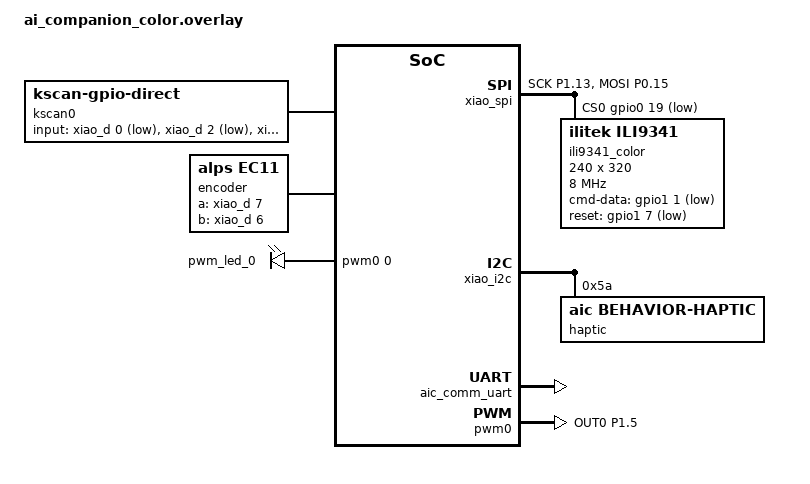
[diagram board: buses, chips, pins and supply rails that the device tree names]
/*
 * Copyright (c) 2026 The AI Companion Contributors
 * SPDX-License-Identifier: MIT
 *
 * ai_companion_color shield — the COLOUR build of the AI Companion device.
 *
 * Same firmware LOGIC as the mono `ai_companion` shield (4 buttons + EC11
 * encoder + DRV2605L haptic + USB CDC-ACM data channel + the custom 12-screen
 * status UI), but:
 *   1) the display is a Waveshare 2.4" ILI9341 IPS panel (240x320, 4-wire SPI)
 *      instead of the 128x64 I2C SSD1306, and
 *   2) the rotary encoder's push switch (SW) is now wired as a 5th button.
 *
 * BOARD: still `seeeduino_xiao_ble` — but the physical board is the XIAO
 * nRF52840 *Plus* (20 pins, D0-D19). The SoC is identical, so no new board
 * definition is needed; the extra pins (D11+) are reached with raw &gpio0 /
 * &gpio1 references plus a pinctrl override on the SPI bus. The regular XIAO's
 * 11-pin header (D0-D10) does NOT expose enough pins for panel + 5 buttons +
 * encoder + haptic, so this shield REQUIRES the Plus.
 *
 * VERIFICATION LEVEL: NOT YET HW-VERIFIED on this panel (bring-up pending — the
 * 1.9" ST7789 build was verified; this is the 2.4" ILI9341 swap). The ILI9341
 * driver supplies its own register defaults; the only panel-specific choices
 * here are 8 MHz SPI (dupont jumpers ring higher -> fuzzy text) and the LANDSCAPE
 * orientation (rotation = 270). The exact rotation direction is confirmed at
 * bring-up (see the node below).
 *
 * ---- Pin map (XIAO Plus digital pin -> nRF GPIO; source = Seeed variant.cpp) ----
 *   Existing 8 signals — UNCHANGED from the mono shield:
 *     D0  Voice button       (P0.02)   direct GPIO, active-low, pull-up
 *     D2  Yes   button       (P0.28)   direct GPIO, active-low, pull-up
 *     D9  No    button       (P1.14)   direct GPIO, active-low, pull-up
 *     D10 Open  button       (P1.15)   direct GPIO, active-low, pull-up
 *     D7  Encoder A          (P1.12)   EC11
 *     D6  Encoder B          (P1.11)   EC11
 *     D4  I2C SDA            (P0.04)   DRV2605L haptic
 *     D5  I2C SCL            (P0.05)   DRV2605L haptic
 *   New signals — only on pins the mono build left free:
 *     D8  Screen CLK (SCK)   (P1.13)   SPI2 — native SCK pin, no override needed
 *     D11 Screen DIN (MOSI)  (P0.15)   SPI2 — MOSI moved here (native P1.15 = D10 = Open)
 *     D12 Screen CS          (P0.19)   SPI2 chip-select GPIO
 *     D13 Screen DC          (P1.01)   command/data select GPIO
 *     D17 Screen RST         (P1.07)   reset GPIO
 *   Encoder push switch — moved off the hard-to-reach Plus back-pad D19 (P1.03)
 *   onto a free top-header pin (2026-09-30 bring-up: D19 back-pad would not
 *   register even shorted straight to GND, while D0 fired instantly):
 *     D1  Encoder SW (push)  (P0.03)   direct GPIO, active-low, pull-up (5th button)
 *   Screen BL -> 3V3 (always on); VCC -> 3V3; GND -> GND; MISO not connected.
 *   AVOIDED: D14/D15 (P0.09/P0.10 = NFC pins), D16 (P0.31 = VBAT sense).
 */

#include <dt-bindings/zmk/matrix_transform.h>

/ {
    chosen {
        zmk,kscan = &kscan0;
        zmk,matrix-transform = &default_transform;
        zephyr,display = &ili9341_color;   // colour panel replaces the OLED
    };

    default_transform: keymap_transform_0 {
        compatible = "zmk,matrix-transform";
        columns = <5>;
        rows = <1>;
        //        Voice   Yes     No      Open    EncSW
        map = < RC(0,0) RC(0,1) RC(0,2) RC(0,3) RC(0,4) >;
    };

    kscan0: kscan_0 {
        compatible = "zmk,kscan-gpio-direct";
        wakeup-source;
        debounce-press-ms = <5>;
        debounce-release-ms = <5>;
        input-gpios
            = <&xiao_d 0  (GPIO_ACTIVE_LOW | GPIO_PULL_UP)>   // Voice
            , <&xiao_d 2  (GPIO_ACTIVE_LOW | GPIO_PULL_UP)>   // Yes
            , <&xiao_d 9  (GPIO_ACTIVE_LOW | GPIO_PULL_UP)>   // No
            , <&xiao_d 10 (GPIO_ACTIVE_LOW | GPIO_PULL_UP)>   // Open
            , <&xiao_d 1  (GPIO_ACTIVE_LOW | GPIO_PULL_UP)>   // Encoder SW = D1 (P0.03)
            ;
    };

    encoder: encoder {
        compatible = "alps,ec11";
        a-gpios = <&xiao_d 7 (GPIO_ACTIVE_HIGH | GPIO_PULL_UP)>;
        b-gpios = <&xiao_d 6 (GPIO_ACTIVE_HIGH | GPIO_PULL_UP)>;
        steps = <80>;
        status = "okay";
    };

    sensors: sensors {
        compatible = "zmk,keymap-sensors";
        sensors = <&encoder>;
        triggers-per-rotation = <20>;
    };

    /*
     * Soft-off wakeup sources. When &soft_off (bound to the Yes+Open combo in
     * the keymap) powers the chip into System OFF, ZMK keeps the devices listed
     * here alive so they can wake it again. kscan0 already carries
     * `wakeup-source;` and is a direct GPIO kscan, so listing it here is the ZMK
     * docs' simplest path: pressing ANY of the 5 keys (Voice/Yes/No/Open/EncSW)
     * wakes the device — no dedicated gpio-key / sideband node needed.
     */
    soft_off_wakers {
        compatible = "zmk,soft-off-wakeup-sources";
        wakeup-sources = <&kscan0>;
    };
};

/*
 * Colour panel — Waveshare 2.4" ILI9341 (240x320, 4-wire SPI), on the XIAO's
 * SPI2 (`xiao_spi`). SPI2's native pins are SCK=P1.13, MOSI=P1.15, MISO=P1.14.
 * We keep SCK on P1.13 (= D8, free) but MOVE MOSI off P1.15 — that pin is D10,
 * the Open button — onto P0.15 (= D11). MISO is dropped: the display is
 * write-only. This override is a per-shield pinctrl state so the board's stock
 * spi2_default is left intact for anything else.
 */
&pinctrl {
    spi2_default_color: spi2_default_color {
        group1 {
            psels = <NRF_PSEL(SPIM_SCK, 1, 13)>,
                    <NRF_PSEL(SPIM_MOSI, 0, 15)>;
        };
    };

    spi2_sleep_color: spi2_sleep_color {
        group1 {
            psels = <NRF_PSEL(SPIM_SCK, 1, 13)>,
                    <NRF_PSEL(SPIM_MOSI, 0, 15)>;
            low-power-enable;
        };
    };
};

&xiao_spi {
    status = "okay";
    pinctrl-0 = <&spi2_default_color>;
    pinctrl-1 = <&spi2_sleep_color>;
    pinctrl-names = "default", "sleep";
    cs-gpios = <&gpio0 19 GPIO_ACTIVE_LOW>;   // CS = D12 (P0.19)

    /*
     * ILI9341 node (Waveshare 2.4"). Unlike the old ST7789 node, the Zephyr
     * ILI9341 driver (shared drivers/display/display_ili9xxx.c) already carries
     * sensible defaults for EVERY power/gamma/VCOM/frame register in its binding
     * (dts/bindings/display/ilitek,ili9341.yaml), so none of those arrays need
     * to be restated here — this node is just bus + control pins + orientation.
     *
     * Resolution is FIXED inside the driver (ILI9341 = 240x320 portrait, from
     * its X_RES/Y_RES macros); width/height below are only there because the
     * binding marks them required (display-controller.yaml) — the driver ignores
     * them for resolution. `rotation = <270>` turns it to LANDSCAPE 320x240 for
     * the horizontal-bar enclosure and programs MADCTL for us — no manual mdac /
     * offset. pixel-format <0> = RGB565 (matches CONFIG_LV_COLOR_DEPTH_16).
     */
    ili9341_color: ili9341@0 {
        compatible = "ilitek,ili9341";
        reg = <0>;
        /*
         * 8 MHz. The panel is wired with dupont jumpers; faster rates on long
         * unshielded leads ring/couple and show up as fuzzy/ghosted pixels.
         * Raise once the panel is on a proper flex/PCB with short traces.
         */
        spi-max-frequency = <8000000>;
        cmd-data-gpios = <&gpio1 1 GPIO_ACTIVE_LOW>;   // DC  = D13 (P1.01)
        reset-gpios    = <&gpio1 7 GPIO_ACTIVE_LOW>;   // RST = D17 (P1.07)
        pixel-format = <0>;    // 0 = RGB565
        /*
         * width/height are REQUIRED by the binding (inherited from
         * display-controller.yaml) but the ili9xxx driver does NOT use them for
         * resolution — it takes that from its own ILI9341_X_RES/Y_RES macros
         * (240x320) and swaps per `rotation`. So these are the native-panel
         * values purely to satisfy the binding; the live resolution is driven by
         * rotation below (270 -> landscape 320x240).
         */
        width = <240>;
        height = <320>;
        /*
         * 270 = landscape 320x240. If the image comes up upside-down / mirrored
         * at bring-up, try 90 instead — both are landscape, 180 deg apart.
         */
        rotation = <270>;
    };
};

/*
 * Haptic + I2C — identical to the mono shield. The DRV2605L stays on the XIAO
 * I2C bus (D4=SDA / D5=SCL). No SSD1306 node here: the colour panel replaces it.
 */
&xiao_i2c {
    status = "okay";

    haptic: drv2605@5a {
        compatible = "aic,behavior-haptic";
        reg = <0x5a>;
        #binding-cells = <0>;
    };
};

/*
 * USB CDC-ACM data channel — identical to the mono shield (host <-> device
 * newline-delimited JSON over a virtual serial port alongside USB HID).
 */
&zephyr_udc0 {
    aic_comm_uart: aic_comm_uart {
        compatible = "zephyr,cdc-acm-uart";
    };
};

/ {
    chosen {
        aic,comm-uart = &aic_comm_uart;
    };
};

/*
 * ---- Backlight control (BL = D18 = P1.05) ----
 * The Waveshare 2.4" panel's BL pin is a LOGIC control input (BL -> R5 1K -> NPN
 * base, with R6 10K on the base, switching the LED current), NOT an LED-current
 * pin — so an nRF GPIO/PWM can drive it directly, no MOSFET. The BL net goes to
 * P1.05; driving it from PWM0 gives real control: high = lit, low = dark. ZMK
 * backlight defaults to on-at-boot at 100%. (Unlike the 1.9" panel there is no
 * TXS0108 pull-up forcing it on, so floating-pin behaviour differs — see the
 * soft-off HARDWARE NOTE in the .conf.)
 *
 * VERIFY: hold Voice + Open -> &bl BL_TOG (see keymap). The panel going DARK is
 * the proof firmware owns P1.05.
 */
#include <dt-bindings/pwm/pwm.h>

&pinctrl {
    pwm0_default: pwm0_default {
        group1 {
            psels = <NRF_PSEL(PWM_OUT0, 1, 5)>;   // BL = D18 (P1.05)
        };
    };

    pwm0_sleep: pwm0_sleep {
        group1 {
            psels = <NRF_PSEL(PWM_OUT0, 1, 5)>;
            low-power-enable;
        };
    };
};

&pwm0 {
    status = "okay";
    pinctrl-0 = <&pwm0_default>;
    pinctrl-1 = <&pwm0_sleep>;
    pinctrl-names = "default", "sleep";
};

/ {
    backlight: pwmleds {
        compatible = "pwm-leds";
        pwm_led_0 {
            pwms = <&pwm0 0 PWM_MSEC(10) PWM_POLARITY_NORMAL>;
        };
    };

    chosen {
        zmk,backlight = &backlight;
    };
};
